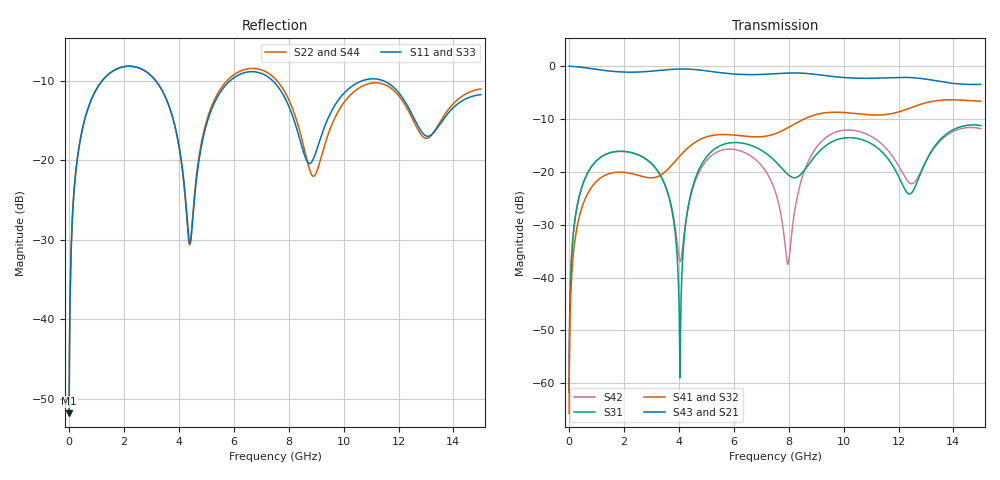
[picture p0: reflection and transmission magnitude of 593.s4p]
! Created with skrf 1.8.0 (http://scikit-rf.org).
# GHz S RI R 50.0
!freq ReS11 ImS11 ReS12 ImS12 ReS13 ImS13
! ReS14 ImS14
! ReS21 ImS21 ReS22 ImS22 ReS23 ImS23
! ReS24 ImS24
! ReS31 ImS31 ReS32 ImS32 ReS33 ImS33
! ReS34 ImS34
! ReS41 ImS41 ReS42 ImS42 ReS43 ImS43
! ReS44 ImS44
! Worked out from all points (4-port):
!   2499 points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, 5 MHz to 15 GHz, reference 50 ohm
!   strongest paths, dB at 5 MHz, 3.476 GHz, 7.19 GHz, 11.1 GHz, 15 GHz:
!     S43: 0.0, -0.7, -1.5, -2.3, -3.5
!     S21: 0.0, -0.7, -1.5, -2.3, -3.4
!     S41: -65.7, -20.1, -13.2, -9.3, -6.7
!     S32: -65.7, -20.1, -13.3, -9.3, -6.7
!     S31: -61.7, -22.3, -16.6, -15.0, -11.3
!     S42: -61.7, -22.2, -20.1, -13.6, -11.8
!   lowest |S11| = -51.9 dB at 5 MHz (marker M1), VSWR 1.01, Z = 50.2 + j0.155 ohm
!   |S11| at or under -10 dB: 3.171 GHz to 5.852 GHz (2.681 GHz wide, 59.4 % of centre); 7.432 GHz to 10.64 GHz (3.213 GHz wide, 35.5 % of centre); 11.48 GHz to end of sweep (the widest 3 of 4)
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0.005  0.00204 0.00154  0.9979 -0.00396  0.000104 0.000813  -0.000101 -0.00051
       0.9979 -0.00396  0.00204 0.00154  -0.000101 -0.00051  0.000104 0.000813
       0.000104 0.000813  -0.000101 -0.00051  0.00204 0.00155  0.9979 -0.00396
       -0.000101 -0.00051  0.000104 0.000813  0.9979 -0.00396  0.00204 0.00155
1.269279  0.2758 0.1756  0.5374 -0.735  0.1305 0.0593  -0.0913 -0.00433
          0.5374 -0.735  0.2762 0.1753  -0.0912 -0.00441  0.1295 0.0607
          0.1305 0.0593  -0.0912 -0.00441  0.2758 0.1756  0.5374 -0.735
          -0.0913 -0.00433  0.1295 0.0607  0.5374 -0.735  0.2761 0.1754
4.041364  0.0551 -0.0999  -0.8842 -0.3149  -0.00107 -0.000342  -0.0427 0.1348
          -0.8842 -0.3149  0.0535 -0.0984  -0.0439 0.1344  -0.0137 -0.00379
          -0.00107 -0.000342  -0.0439 0.1344  0.0545 -0.1004  -0.8841 -0.3151
          -0.0427 0.1348  -0.0137 -0.00379  -0.8841 -0.3151  0.0543 -0.0984
5.033347  0.1096 0.1359  -0.8274 0.3509  0.1078 0.0903  0.1104 0.1844
          -0.8274 0.3509  0.1152 0.142  0.1087 0.1853  0.0781 0.1038
          0.1078 0.0903  0.1087 0.1853  0.1084 0.1356  -0.8279 0.3505
          0.1104 0.1844  0.0781 0.1038  -0.8279 0.3505  0.1154 0.1405
8.822426  0.0969 0.00536  0.8335 0.1276  -0.0487 0.1169  0.0423 -0.334
          0.8335 0.1276  0.0773 -0.0277  0.0475 -0.333  0.0256 0.1402
          -0.0487 0.1169  0.0475 -0.333  0.0971 0.0105  0.8338 0.1268
          0.0423 -0.334  0.0256 0.1402  0.8338 0.1268  0.0751 -0.0246
11.61734  0.2955 -0.0843  -0.1125 -0.7667  0.0772 -0.1083  -0.3355 0.1
          -0.1125 -0.7667  0.2852 -0.0701  -0.3369 0.0906  0.082 -0.1365
          0.0772 -0.1083  -0.3369 0.0906  0.2934 -0.0865  -0.1117 -0.7678
          -0.3355 0.1  0.082 -0.1365  -0.1117 -0.7678  0.2819 -0.0651
15  0.2599 -0.0103  -0.4268 0.5195  0.2729 0.0217  0.4162 0.2059
    -0.4268 0.5195  0.282 -0.0135  0.4076 0.2165  0.2536 0.0338
    0.2729 0.0217  0.4076 0.2165  0.2697 -0.00707  -0.4277 0.5172
    0.4162 0.2059  0.2536 0.0338  -0.4277 0.5172  0.2804 -0.00861
